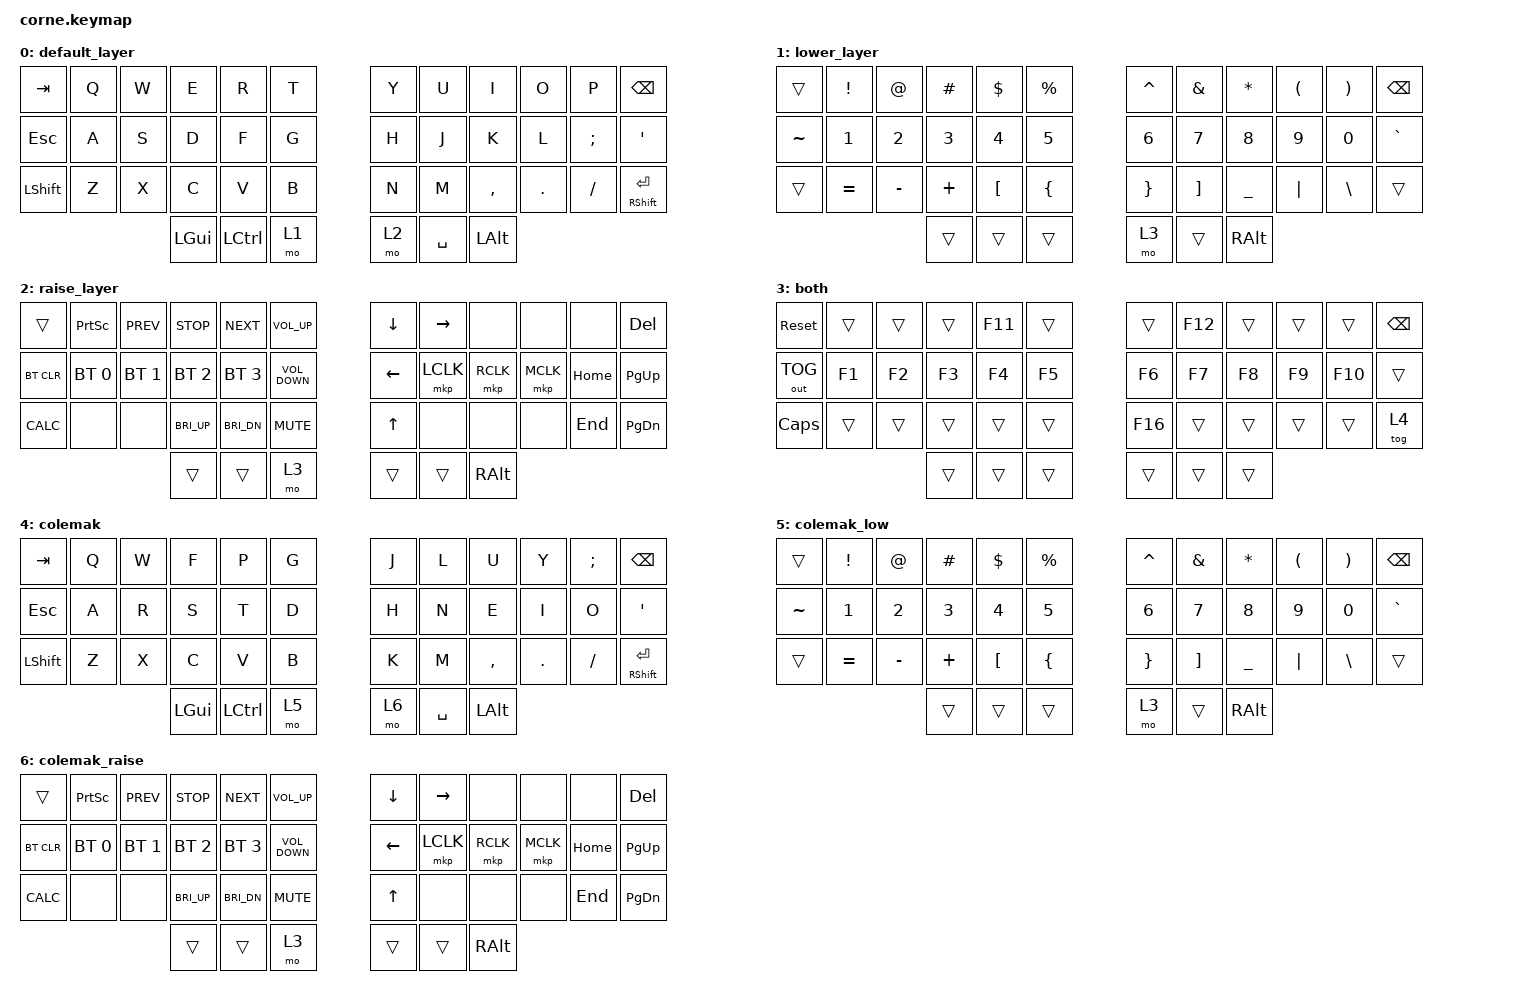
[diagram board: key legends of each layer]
/*
 * Copyright (c) 2020 The ZMK Contributors
 *
 * SPDX-License-Identifier: MIT
 */

#include <behaviors.dtsi>
#include <dt-bindings/zmk/bt.h>
#include <dt-bindings/zmk/keys.h>
#include <dt-bindings/zmk/mouse.h>
#include <dt-bindings/zmk/outputs.h>

/ {
    keymap {
        compatible = "zmk,keymap";

        default_layer {
            // -----------------------------------------------------------------------------------------
            // |  TAB |  Q  |  W  |  E  |  R  |  T  |   |  Y  |  U   |  I  |  O  |  P  | BKSP |
            // | CTRL |  A  |  S  |  D  |  F  |  G  |   |  H  |  J   |  K  |  L  |  ;  |  '   |
            // | SHFT |  Z  |  X  |  C  |  V  |  B  |   |  N  |  M   |  ,  |  .  |  /  | ESC  |
            //                    | GUI | LWR | SPC |   | ENT |      | ALT |

            bindings = <
&kp TAB    &kp Q  &kp W  &kp E     &kp R      &kp T    &kp Y  &kp U      &kp I      &kp O    &kp P     &kp BSPC
&kp ESC    &kp A  &kp S  &kp D     &kp F      &kp G    &kp H  &kp J      &kp K      &kp L    &kp SEMI  &kp SQT
&kp LSHFT  &kp Z  &kp X  &kp C     &kp V      &kp B    &kp N  &kp M      &kp COMMA  &kp DOT  &kp FSLH  &mt RSHIFT ENTER
                         &kp LGUI  &kp LCTRL  &mo 1    &mo 2  &kp SPACE  &kp LALT
            >;
        };

        lower_layer {
            // -----------------------------------------------------------------------------------------
            // |  TAB |  1  |  2  |  3  |  4  |  5  |   |  6  |  7  |  8  |  9  |  0  | BKSP |
            // | BTCLR| BT1 | BT2 | BT3 | BT4 | BT5 |   | LFT | DWN |  UP | RGT |     |      |
            // | SHFT |     |     |     |     |     |   |     |     |     |     |     |      |
            //                    | GUI |     | SPC |   | ENT |     | ALT |

            bindings = <
&trans     &kp EXCLAMATION  &kp AT_SIGN   &kp HASH      &kp DOLLAR        &kp PERCENT       &kp CARET        &kp AMPERSAND      &kp ASTERISK   &kp LEFT_PARENTHESIS  &kp RIGHT_PARENTHESIS  &kp BACKSPACE
&kp TILDE  &kp NUMBER_1     &kp NUMBER_2  &kp NUMBER_3  &kp NUMBER_4      &kp NUMBER_5      &kp NUMBER_6     &kp NUMBER_7       &kp NUMBER_8   &kp NUMBER_9          &kp NUMBER_0           &kp GRAVE
&trans     &kp EQUAL        &kp MINUS     &kp PLUS      &kp LEFT_BRACKET  &kp LEFT_BRACE    &kp RIGHT_BRACE  &kp RIGHT_BRACKET  &kp UNDER      &kp PIPE              &kp BACKSLASH          &trans
                                          &trans        &trans            &trans            &mo 3            &trans             &kp RIGHT_ALT
            >;
        };

        raise_layer {
            // -----------------------------------------------------------------------------------------
            // |  TAB |  !  |  @  |  #  |  $  |  %  |   |  ^  |  &  |  *  |  (  |  )  | BKSP |
            // | CTRL |     |     |     |     |     |   |  -  |  =  |  [  |  ]  |  \  |  `   |
            // | SHFT |     |     |     |     |     |   |  _  |  +  |  {  |  }  | "|" |  ~   |
            //                    | GUI |     | SPC |   | ENT |     | ALT |

            bindings = <
&trans      &kp PRINTSCREEN  &kp C_PREV    &kp C_STOP    &kp C_NEXT    &kp C_VOLUME_UP      &kp DOWN_ARROW  &kp RIGHT_ARROW  &none      &none      &none     &kp DELETE
&bt BT_CLR  &bt BT_SEL 0     &bt BT_SEL 1  &bt BT_SEL 2  &bt BT_SEL 3  &kp C_VOLUME_DOWN    &kp LEFT_ARROW  &mkp LCLK        &mkp RCLK  &mkp MCLK  &kp HOME  &kp PAGE_UP
&kp K_CALC  &none            &none         &kp C_BRI_UP  &kp C_BRI_DN  &kp K_MUTE           &kp UP_ARROW    &none            &none      &none      &kp END   &kp PAGE_DOWN
                                           &trans        &trans        &mo 3                &trans          &trans           &kp RALT
            >;
        };

        both {
            bindings = <
&sys_reset    &trans  &trans  &trans  &kp F11  &trans    &trans   &kp F12  &trans  &trans  &trans   &kp BACKSPACE
&out OUT_TOG  &kp F1  &kp F2  &kp F3  &kp F4   &kp F5    &kp F6   &kp F7   &kp F8  &kp F9  &kp F10  &trans
&kp CAPSLOCK  &trans  &trans  &trans  &trans   &trans    &kp F16  &trans   &trans  &trans  &trans   &tog 4
                              &trans  &trans   &trans    &trans   &trans   &trans
            >;
        };

        colemak {
            bindings = <
&kp TAB         &kp Q  &kp W  &kp F         &kp P      &kp G    &kp J  &kp L      &kp U      &kp Y       &kp SEMICOLON  &kp BACKSPACE
&kp ESC         &kp A  &kp R  &kp S         &kp T      &kp D    &kp H  &kp N      &kp E      &kp I       &kp O          &kp SQT
&kp LEFT_SHIFT  &kp Z  &kp X  &kp C         &kp V      &kp B    &kp K  &kp M      &kp COMMA  &kp PERIOD  &kp SLASH      &mt RIGHT_SHIFT ENTER
                              &kp LEFT_GUI  &kp LCTRL  &mo 5    &mo 6  &kp SPACE  &kp LALT
            >;
        };

        colemak_low {
            bindings = <
&trans     &kp EXCLAMATION  &kp AT_SIGN   &kp HASH      &kp DOLLAR        &kp PERCENT       &kp CARET        &kp AMPERSAND      &kp ASTERISK  &kp LEFT_PARENTHESIS  &kp RIGHT_PARENTHESIS  &kp BACKSPACE
&kp TILDE  &kp NUMBER_1     &kp NUMBER_2  &kp NUMBER_3  &kp NUMBER_4      &kp NUMBER_5      &kp NUMBER_6     &kp NUMBER_7       &kp NUMBER_8  &kp NUMBER_9          &kp NUMBER_0           &kp GRAVE
&trans     &kp EQUAL        &kp MINUS     &kp PLUS      &kp LEFT_BRACKET  &kp LEFT_BRACE    &kp RIGHT_BRACE  &kp RIGHT_BRACKET  &kp UNDER     &kp PIPE              &kp BACKSLASH          &trans
                                          &trans        &trans            &trans            &mo 3            &trans             &kp RALT
            >;
        };

        colemak_raise {
            bindings = <
&trans      &kp PRINTSCREEN  &kp C_PREV    &kp C_STOP    &kp C_NEXT    &kp C_VOLUME_UP      &kp DOWN_ARROW  &kp RIGHT_ARROW  &none      &none      &none     &kp DELETE
&bt BT_CLR  &bt BT_SEL 0     &bt BT_SEL 1  &bt BT_SEL 2  &bt BT_SEL 3  &kp C_VOLUME_DOWN    &kp LEFT_ARROW  &mkp LCLK        &mkp RCLK  &mkp MCLK  &kp HOME  &kp PAGE_UP
&kp K_CALC  &none            &none         &kp C_BRI_UP  &kp C_BRI_DN  &kp K_MUTE           &kp UP_ARROW    &none            &none      &none      &kp END   &kp PAGE_DOWN
                                           &trans        &trans        &mo 3                &trans          &trans           &kp RALT
            >;
        };
    };
};
